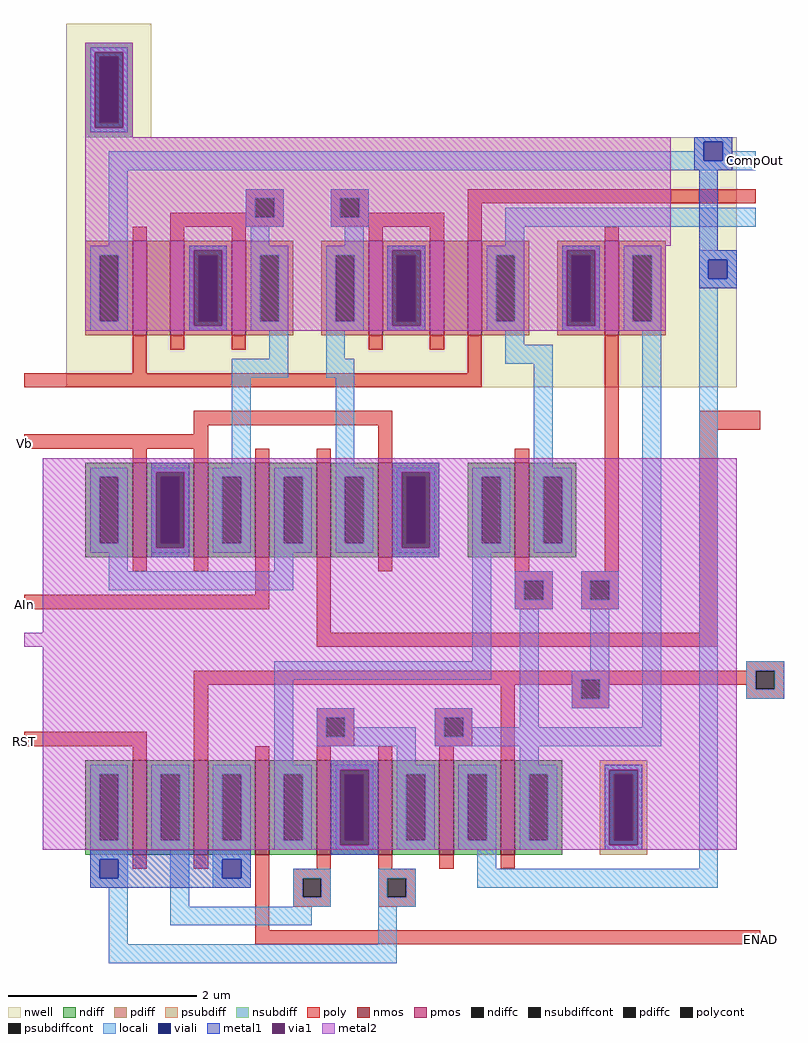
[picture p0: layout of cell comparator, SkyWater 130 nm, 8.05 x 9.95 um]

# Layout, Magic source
magic
tech sky130A
<< nwell >>
rect -90 595 0 715
rect -90 330 620 595
<< nmos >>
rect -20 150 -5 250
rect 45 150 60 250
rect 110 150 125 250
rect 175 150 190 250
rect 240 150 255 250
rect 385 150 400 250
rect -20 -165 -5 -65
rect 45 -165 60 -65
rect 110 -165 125 -65
rect 175 -165 190 -65
rect 240 -165 255 -65
rect 305 -165 320 -65
rect 370 -165 385 -65
<< pmos >>
rect -20 385 -5 485
rect 20 385 35 485
rect 85 385 100 485
rect 230 385 245 485
rect 295 385 310 485
rect 335 385 350 485
rect 480 385 495 485
<< ndiff >>
rect -70 235 -20 250
rect -70 165 -55 235
rect -35 165 -20 235
rect -70 150 -20 165
rect -5 235 45 250
rect -5 165 10 235
rect 30 165 45 235
rect -5 150 45 165
rect 60 235 110 250
rect 60 165 75 235
rect 95 165 110 235
rect 60 150 110 165
rect 125 235 175 250
rect 125 165 140 235
rect 160 165 175 235
rect 125 150 175 165
rect 190 235 240 250
rect 190 165 205 235
rect 225 165 240 235
rect 190 150 240 165
rect 255 235 305 250
rect 255 165 270 235
rect 290 165 305 235
rect 255 150 305 165
rect 335 235 385 250
rect 335 165 350 235
rect 370 165 385 235
rect 335 150 385 165
rect 400 235 450 250
rect 400 165 415 235
rect 435 165 450 235
rect 400 150 450 165
rect -70 -80 -20 -65
rect -70 -150 -55 -80
rect -35 -150 -20 -80
rect -70 -165 -20 -150
rect -5 -80 45 -65
rect -5 -150 10 -80
rect 30 -150 45 -80
rect -5 -165 45 -150
rect 60 -80 110 -65
rect 60 -150 75 -80
rect 95 -150 110 -80
rect 60 -165 110 -150
rect 125 -80 175 -65
rect 125 -150 140 -80
rect 160 -150 175 -80
rect 125 -165 175 -150
rect 190 -80 240 -65
rect 190 -150 205 -80
rect 225 -150 240 -80
rect 190 -165 240 -150
rect 255 -80 305 -65
rect 255 -150 270 -80
rect 290 -150 305 -80
rect 255 -165 305 -150
rect 320 -80 370 -65
rect 320 -150 335 -80
rect 355 -150 370 -80
rect 320 -165 370 -150
rect 385 -80 435 -65
rect 385 -150 400 -80
rect 420 -150 435 -80
rect 385 -165 435 -150
<< pdiff >>
rect -70 470 -20 485
rect -70 400 -55 470
rect -35 400 -20 470
rect -70 385 -20 400
rect -5 385 20 485
rect 35 470 85 485
rect 35 400 50 470
rect 70 400 85 470
rect 35 385 85 400
rect 100 470 150 485
rect 100 400 115 470
rect 135 400 150 470
rect 100 385 150 400
rect 180 470 230 485
rect 180 400 195 470
rect 215 400 230 470
rect 180 385 230 400
rect 245 470 295 485
rect 245 400 260 470
rect 280 400 295 470
rect 245 385 295 400
rect 310 385 335 485
rect 350 470 400 485
rect 350 400 365 470
rect 385 400 400 470
rect 350 385 400 400
rect 430 470 480 485
rect 430 400 445 470
rect 465 400 480 470
rect 430 385 480 400
rect 495 470 545 485
rect 495 400 510 470
rect 530 400 545 470
rect 495 385 545 400
<< ndiffc >>
rect -55 165 -35 235
rect 10 165 30 235
rect 75 165 95 235
rect 140 165 160 235
rect 205 165 225 235
rect 270 165 290 235
rect 350 165 370 235
rect 415 165 435 235
rect -55 -150 -35 -80
rect 10 -150 30 -80
rect 75 -150 95 -80
rect 140 -150 160 -80
rect 205 -150 225 -80
rect 270 -150 290 -80
rect 335 -150 355 -80
rect 400 -150 420 -80
<< pdiffc >>
rect -55 400 -35 470
rect 50 400 70 470
rect 115 400 135 470
rect 195 400 215 470
rect 260 400 280 470
rect 365 400 385 470
rect 445 400 465 470
rect 510 400 530 470
<< psubdiff >>
rect 475 -80 525 -65
rect 475 -150 490 -80
rect 510 -150 525 -80
rect 475 -165 525 -150
<< nsubdiff >>
rect -70 680 -20 695
rect -70 610 -55 680
rect -35 610 -20 680
rect -70 595 -20 610
<< psubdiffcont >>
rect 490 -150 510 -80
<< nsubdiffcont >>
rect -55 610 -35 680
<< poly >>
rect 100 530 140 540
rect 100 515 110 530
rect 20 510 110 515
rect 130 510 140 530
rect 20 500 140 510
rect 190 530 230 540
rect 190 510 200 530
rect 220 515 230 530
rect 335 525 640 540
rect 220 510 310 515
rect 190 500 310 510
rect -20 485 -5 500
rect 20 485 35 500
rect 85 485 100 500
rect 230 485 245 500
rect 295 485 310 500
rect 335 485 350 525
rect 480 485 495 500
rect -20 345 -5 385
rect 20 370 35 385
rect 85 370 100 385
rect 230 370 245 385
rect 295 370 310 385
rect 335 345 350 385
rect -135 330 350 345
rect 45 290 255 305
rect 45 280 60 290
rect -135 265 60 280
rect -20 250 -5 265
rect 45 250 60 265
rect 110 250 125 265
rect 175 250 190 265
rect 240 250 255 290
rect 385 250 400 265
rect -20 135 -5 150
rect 45 135 60 150
rect 110 110 125 150
rect -135 95 125 110
rect 175 70 190 150
rect 240 135 255 150
rect 385 135 400 150
rect 480 135 495 385
rect 385 125 425 135
rect 385 105 395 125
rect 415 105 425 125
rect 385 95 425 105
rect 455 125 495 135
rect 455 105 465 125
rect 485 105 495 125
rect 455 95 495 105
rect 580 285 645 305
rect 580 70 600 285
rect 175 55 600 70
rect 630 30 670 40
rect 45 20 640 30
rect 45 15 455 20
rect -135 -50 -5 -35
rect -20 -65 -5 -50
rect 45 -65 60 15
rect 175 -20 215 -10
rect 175 -40 185 -20
rect 205 -40 215 -20
rect 175 -50 215 -40
rect 300 -20 340 -10
rect 300 -40 310 -20
rect 330 -40 340 -20
rect 300 -50 340 -40
rect 110 -65 125 -50
rect 175 -65 190 -50
rect 240 -65 255 -50
rect 305 -65 320 -50
rect 370 -65 385 15
rect 445 0 455 15
rect 475 15 640 20
rect 475 0 485 15
rect 630 10 640 15
rect 660 10 670 30
rect 630 0 670 10
rect 445 -10 485 0
rect -20 -180 -5 -165
rect 45 -180 60 -165
rect 110 -245 125 -165
rect 175 -180 190 -165
rect 150 -190 190 -180
rect 150 -210 160 -190
rect 180 -210 190 -190
rect 150 -220 190 -210
rect 240 -180 255 -165
rect 305 -180 320 -165
rect 370 -180 385 -165
rect 240 -190 280 -180
rect 240 -210 250 -190
rect 270 -210 280 -190
rect 240 -220 280 -210
rect 110 -260 645 -245
<< polycont >>
rect 110 510 130 530
rect 200 510 220 530
rect 395 105 415 125
rect 465 105 485 125
rect 185 -40 205 -20
rect 310 -40 330 -20
rect 455 0 475 20
rect 640 10 660 30
rect 160 -210 180 -190
rect 250 -210 270 -190
<< locali >>
rect -65 680 -25 690
rect -65 610 -55 680
rect -35 610 -25 680
rect -65 600 -25 610
rect 575 590 615 595
rect 575 580 585 590
rect -45 570 585 580
rect 605 580 615 590
rect 605 570 640 580
rect -45 560 640 570
rect -45 480 -25 560
rect 100 530 140 540
rect 100 510 110 530
rect 130 510 140 530
rect 100 500 140 510
rect 190 530 230 540
rect 190 510 200 530
rect 220 510 230 530
rect 190 500 230 510
rect 375 500 640 520
rect 105 480 125 500
rect 205 480 225 500
rect 375 480 395 500
rect -65 470 -25 480
rect -65 400 -55 470
rect -35 400 -25 470
rect -65 390 -25 400
rect 40 470 80 480
rect 40 400 50 470
rect 70 400 80 470
rect 40 390 80 400
rect 105 470 145 480
rect 105 400 115 470
rect 135 400 145 470
rect 105 390 145 400
rect 125 360 145 390
rect 85 340 145 360
rect 185 470 225 480
rect 185 400 195 470
rect 215 400 225 470
rect 185 390 225 400
rect 250 470 290 480
rect 250 400 260 470
rect 280 400 290 470
rect 250 390 290 400
rect 355 470 395 480
rect 355 400 365 470
rect 385 400 395 470
rect 355 390 395 400
rect 435 470 475 480
rect 435 400 445 470
rect 465 400 475 470
rect 435 390 475 400
rect 500 470 540 480
rect 500 400 510 470
rect 530 400 540 470
rect 500 390 540 400
rect 185 360 205 390
rect 375 375 395 390
rect 185 340 215 360
rect 375 355 425 375
rect 85 245 105 340
rect 195 245 215 340
rect 405 245 425 355
rect -65 235 -25 245
rect -65 165 -55 235
rect -35 165 -25 235
rect -65 155 -25 165
rect 0 235 40 245
rect 0 165 10 235
rect 30 165 40 235
rect 0 155 40 165
rect 65 235 105 245
rect 65 165 75 235
rect 95 165 105 235
rect 65 155 105 165
rect 130 235 170 245
rect 130 165 140 235
rect 160 165 170 235
rect 130 155 170 165
rect 195 235 235 245
rect 195 165 205 235
rect 225 165 235 235
rect 195 155 235 165
rect 260 235 300 245
rect 260 165 270 235
rect 290 165 300 235
rect 260 155 300 165
rect 340 235 380 245
rect 340 165 350 235
rect 370 165 380 235
rect 340 155 380 165
rect 405 235 445 245
rect 405 165 415 235
rect 435 165 445 235
rect 405 155 445 165
rect -45 135 -25 155
rect 130 135 150 155
rect -45 115 150 135
rect 340 40 360 155
rect 385 125 425 135
rect 385 105 395 125
rect 415 105 425 125
rect 385 95 425 105
rect 455 125 495 135
rect 455 105 465 125
rect 485 105 495 125
rect 455 95 495 105
rect 130 20 360 40
rect 130 -70 150 20
rect 175 -20 215 -10
rect 175 -40 185 -20
rect 205 -30 215 -20
rect 300 -20 340 -10
rect 205 -40 280 -30
rect 175 -50 280 -40
rect 300 -40 310 -20
rect 330 -30 340 -20
rect 390 -30 410 95
rect 465 30 485 95
rect 445 20 485 30
rect 445 0 455 20
rect 475 0 485 20
rect 445 -10 485 0
rect 520 -30 540 390
rect 330 -40 540 -30
rect 300 -50 540 -40
rect 580 465 620 475
rect 580 445 590 465
rect 610 445 620 465
rect 580 435 620 445
rect 260 -70 280 -50
rect 390 -70 410 -50
rect -65 -80 -25 -70
rect -65 -150 -55 -80
rect -35 -150 -25 -80
rect -65 -170 -25 -150
rect 0 -80 40 -70
rect 0 -150 10 -80
rect 30 -150 40 -80
rect 0 -160 40 -150
rect -65 -190 -55 -170
rect -35 -190 -25 -170
rect -65 -200 -25 -190
rect -45 -260 -25 -200
rect 20 -220 40 -160
rect 65 -80 105 -70
rect 65 -150 75 -80
rect 95 -150 105 -80
rect 65 -170 105 -150
rect 130 -80 170 -70
rect 130 -150 140 -80
rect 160 -150 170 -80
rect 130 -160 170 -150
rect 195 -80 235 -70
rect 195 -150 205 -80
rect 225 -150 235 -80
rect 195 -160 235 -150
rect 260 -80 300 -70
rect 260 -150 270 -80
rect 290 -150 300 -80
rect 260 -160 300 -150
rect 325 -80 365 -70
rect 325 -150 335 -80
rect 355 -150 365 -80
rect 325 -160 365 -150
rect 390 -80 430 -70
rect 390 -150 400 -80
rect 420 -150 430 -80
rect 390 -160 430 -150
rect 480 -80 520 -70
rect 480 -150 490 -80
rect 510 -150 520 -80
rect 480 -160 520 -150
rect 65 -190 75 -170
rect 95 -190 105 -170
rect 345 -180 365 -160
rect 580 -180 600 435
rect 630 30 670 40
rect 630 10 640 30
rect 660 10 670 30
rect 630 0 670 10
rect 65 -200 105 -190
rect 150 -190 190 -180
rect 150 -210 160 -190
rect 180 -210 190 -190
rect 150 -220 190 -210
rect 240 -190 280 -180
rect 240 -210 250 -190
rect 270 -210 280 -190
rect 345 -200 600 -180
rect 240 -220 280 -210
rect 20 -240 170 -220
rect 240 -260 260 -220
rect -45 -280 260 -260
<< viali >>
rect -55 610 -35 680
rect 585 570 605 590
rect 50 400 70 470
rect 260 400 280 470
rect 445 400 465 470
rect 10 165 30 235
rect 270 165 290 235
rect 590 445 610 465
rect -55 -190 -35 -170
rect 205 -150 225 -80
rect 490 -150 510 -80
rect 75 -190 95 -170
<< metal1 >>
rect -65 685 -25 690
rect -65 605 -60 685
rect -30 605 -25 685
rect -65 600 -25 605
rect 575 590 615 595
rect 575 570 585 590
rect 605 570 615 590
rect 575 560 615 570
rect 40 475 80 480
rect 40 395 45 475
rect 75 395 80 475
rect 40 390 80 395
rect 250 475 290 480
rect 250 395 255 475
rect 285 395 290 475
rect 250 390 290 395
rect 435 475 475 480
rect 435 395 440 475
rect 470 395 475 475
rect 580 475 600 560
rect 580 465 620 475
rect 580 445 590 465
rect 610 445 620 465
rect 580 435 620 445
rect 435 390 475 395
rect 0 240 40 250
rect 0 160 5 240
rect 35 160 40 240
rect 0 150 40 160
rect 255 240 305 250
rect 255 160 265 240
rect 295 160 305 240
rect 255 150 305 160
rect 190 -75 240 -65
rect 190 -155 200 -75
rect 230 -155 240 -75
rect -65 -170 105 -160
rect 190 -165 240 -155
rect 480 -75 520 -70
rect 480 -155 485 -75
rect 515 -155 520 -75
rect 480 -160 520 -155
rect -65 -190 -55 -170
rect -35 -190 75 -170
rect 95 -190 105 -170
rect -65 -200 105 -190
<< via1 >>
rect -60 680 -30 685
rect -60 610 -55 680
rect -55 610 -35 680
rect -35 610 -30 680
rect -60 605 -30 610
rect 45 470 75 475
rect 45 400 50 470
rect 50 400 70 470
rect 70 400 75 470
rect 45 395 75 400
rect 255 470 285 475
rect 255 400 260 470
rect 260 400 280 470
rect 280 400 285 470
rect 255 395 285 400
rect 440 470 470 475
rect 440 400 445 470
rect 445 400 465 470
rect 465 400 470 470
rect 440 395 470 400
rect 5 235 35 240
rect 5 165 10 235
rect 10 165 30 235
rect 30 165 35 235
rect 5 160 35 165
rect 265 235 295 240
rect 265 165 270 235
rect 270 165 290 235
rect 290 165 295 235
rect 265 160 295 165
rect 200 -80 230 -75
rect 200 -150 205 -80
rect 205 -150 225 -80
rect 225 -150 230 -80
rect 200 -155 230 -150
rect 485 -80 515 -75
rect 485 -150 490 -80
rect 490 -150 510 -80
rect 510 -150 515 -80
rect 485 -155 515 -150
<< metal2 >>
rect -70 685 -20 695
rect -70 605 -60 685
rect -30 605 -20 685
rect -70 595 -20 605
rect -70 480 550 595
rect -70 475 545 480
rect -70 395 45 475
rect 75 395 255 475
rect 285 395 440 475
rect 470 395 545 475
rect -70 390 545 395
rect -115 240 620 255
rect -115 160 5 240
rect 35 160 265 240
rect 295 160 620 240
rect -115 70 620 160
rect -135 55 620 70
rect -115 -75 620 55
rect -115 -155 200 -75
rect 230 -155 485 -75
rect 515 -155 620 -75
rect -115 -160 620 -155
<< labels >>
rlabel poly -135 100 -135 100 7 AIn
port 1 w
rlabel poly -135 -45 -135 -45 7 RST
port 2 w
rlabel poly 645 -255 645 -255 3 ENAD
port 3 e
rlabel locali 640 570 640 570 3 CompOut
port 6 e
rlabel poly -135 270 -135 270 7 Vb
port 7 w
<< end >>
